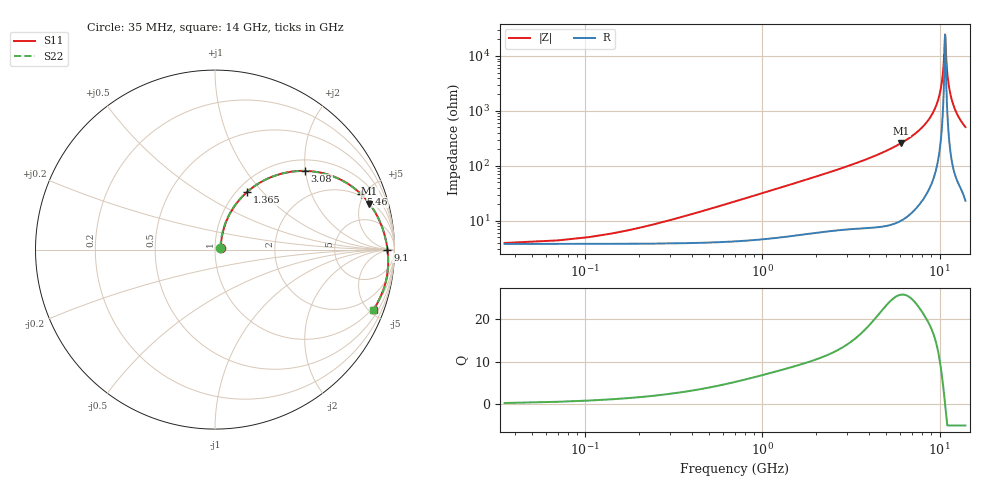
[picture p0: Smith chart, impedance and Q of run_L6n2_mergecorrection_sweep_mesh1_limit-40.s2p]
#  Hz  S  RI  R  50
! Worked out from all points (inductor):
!   400 points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, 35 MHz to 14 GHz, reference 50 ohm
!   read as one part in series: L = 5.01 nH near 385 MHz
!   highest Q = 25.9 at 6.09 GHz (marker M1), where L = 6.81 nH
!   self-resonance near 10.74 GHz
!   S11 on the Smith chart (normalised r, x): 35 MHz: 1.07, +0.02; 1.365 GHz: 1.11, +0.82; 3.08 GHz: 1.26, +1.98; 5.46 GHz: 1.86, +4.73; 9.1 GHz: 50, -1; 14 GHz: 0.81, -5.37
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3.5e7  0.0325 0.00983  0.9575 -0.0106  0.9593 -0.0107  0.0305 0.00993
2.8e8  0.0397 0.078  0.9499 -0.0841  0.9515 -0.0847  0.0379 0.0787
5.25e8  0.0576 0.1432  0.931 -0.1543  0.9322 -0.1554  0.0561 0.1444
1.365e9  0.1784 0.3203  0.8044 -0.3454  0.804 -0.3467  0.1787 0.3218
2.38e9  0.3718 0.4234  0.6051 -0.4593  0.6042 -0.4593  0.3728 0.4233
3.08e9  0.5004 0.4388  0.4745 -0.4812  0.4741 -0.4806  0.5008 0.438
4.69e9  0.7353 0.3702  0.2381 -0.4294  0.2385 -0.4294  0.7347 0.3702
5.46e9  0.8128 0.3099  0.1599 -0.3779  0.1601 -0.3782  0.8125 0.3103
6.09e9  0.8607 0.2555  0.1111 -0.3308  0.111 -0.3312  0.8608 0.2559
7.035e9  0.9112 0.1723  0.0592 -0.2585  0.0589 -0.2584  0.9115 0.1722
9.1e9  0.961 -0.000439  0.0063 -0.1093  0.00673 -0.1092  0.9605 -0.000597
9.345e9  0.9631 -0.02  0.00393 -0.0926  0.00441 -0.0926  0.9625 -0.02
9.94e9  0.965 -0.0667  0.00111 -0.0529  0.00146 -0.0533  0.9645 -0.0662
1.0325e10  0.964 -0.0964  0.00145 -0.0278  0.00156 -0.0284  0.9638 -0.0957
1.057e10  0.9625 -0.115  0.00254 -0.0122  0.00245 -0.0128  0.9625 -0.1142
1.0745e10  0.961 -0.1281  0.00374 -0.00115  0.00349 -0.00179  0.9612 -0.1274
1.078e10  0.9606 -0.1307  0.00403 0.00104  0.00374 0.0004  0.9609 -0.13
1.092e10  0.9591 -0.1411  0.00529 0.00974  0.00486 0.00913  0.9595 -0.1404
1.1095e10  0.9568 -0.154  0.00717 0.0205  0.00658 0.0199  0.9575 -0.1533
1.169e10  0.9467 -0.1961  0.016 0.0555  0.015 0.0556  0.9478 -0.1962
1.2635e10  0.9243 -0.2573  0.0361 0.1057  0.0358 0.1073  0.9246 -0.2591
1.4e10  0.887 -0.3345  0.0709 0.1673  0.0743 0.1671  0.8829 -0.3342
